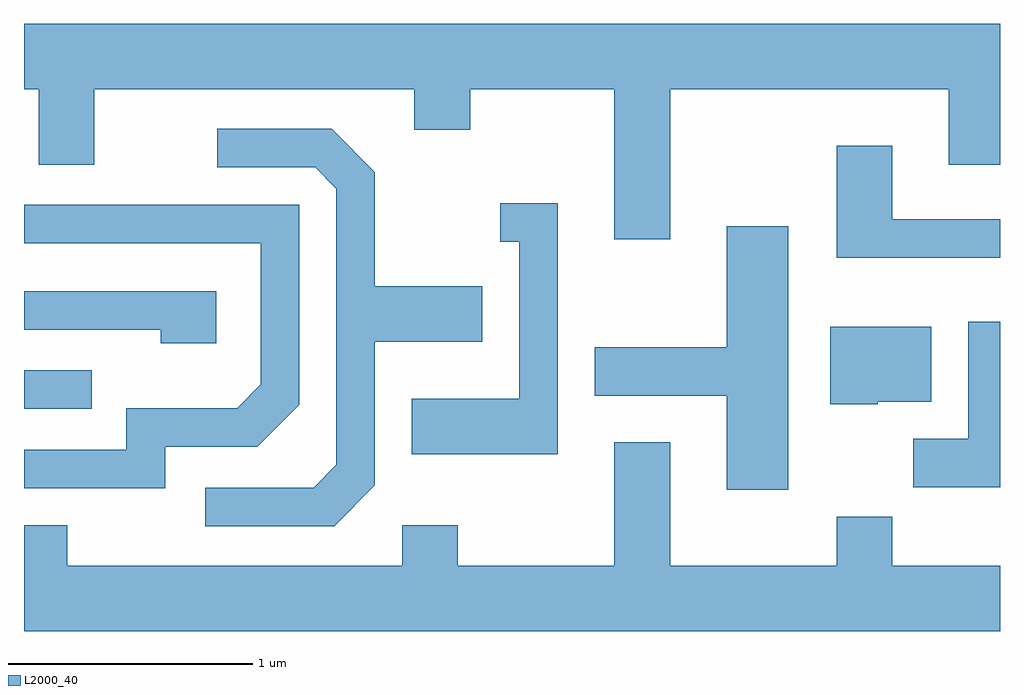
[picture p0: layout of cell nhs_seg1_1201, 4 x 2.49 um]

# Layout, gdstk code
import gdstk
lib = gdstk.Library(unit=1e-6, precision=1e-09)
def R(c, l, rs):  # rectangles x0, y0, x1, y1
    for r in rs: c.add(gdstk.rectangle(r[:2], r[2:], *l))
def P(c, l, *ps):  # polygons
    for p in ps: c.add(gdstk.Polygon(p, *l))
L2000_40 = (2000, 40)

nhs_seg1_1201 = lib.new_cell('nhs_seg1_1201')
R(nhs_seg1_1201, L2000_40, [(221.611,944.886,221.888,945.044)])
P(nhs_seg1_1201, L2000_40, [(224.259,946.196),(225.401,946.196),(225.401,945.886),(225.611,945.886),(225.611,946.464),(221.611,946.464),(221.611,946.196),(221.671,946.196),(221.671,945.886),(221.899,945.886),(221.899,946.196),(223.211,946.196),(223.211,946.031),(223.439,946.031),(223.439,946.196),(224.031,946.196),(224.031,945.581),(224.259,945.581)],
  [(223.049,944.574),(223.049,945.161),(223.489,945.161),(223.489,945.389),(223.049,945.389),(223.049,945.857),(222.872,946.034),(222.403,946.034),(222.403,945.876),(222.804,945.876),(222.891,945.789),(222.891,944.657),(222.799,944.564),(222.353,944.564),(222.353,944.406),(222.882,944.406)],
  [(225.611,945.664),(225.169,945.664),(225.169,945.964),(224.941,945.964),(224.941,945.506),(225.611,945.506)],
  [(223.799,945.729),(223.563,945.729),(223.563,945.571),(223.641,945.571),(223.641,944.929),(223.201,944.929),(223.201,944.701),(223.799,944.701)],
  [(222.189,944.731),(222.567,944.731),(222.739,944.904),(222.739,945.724),(221.611,945.724),(221.611,945.566),(222.581,945.566),(222.581,944.987),(222.484,944.889),(222.031,944.889),(222.031,944.719),(221.611,944.719),(221.611,944.561),(222.189,944.561)],
  [(224.744,945.634),(224.491,945.634),(224.491,945.139),(223.951,945.139),(223.951,944.941),(224.491,944.941),(224.491,944.556),(224.744,944.556)],
  [(222.399,945.369),(221.611,945.369),(221.611,945.211),(222.171,945.211),(222.171,945.156),(222.399,945.156)],
  [(225.611,945.244),(225.481,945.244),(225.481,944.764),(225.256,944.764),(225.256,944.566),(225.611,944.566)],
  [(225.11,944.916),(225.329,944.916),(225.329,945.224),(224.916,945.224),(224.916,944.906),(225.11,944.906)],
  [(225.611,944.244),(225.169,944.244),(225.169,944.444),(224.941,944.444),(224.941,944.244),(224.259,944.244),(224.259,944.749),(224.031,944.749),(224.031,944.244),(223.389,944.244),(223.389,944.409),(223.161,944.409),(223.161,944.244),(221.789,944.244),(221.789,944.409),(221.611,944.409),(221.611,943.976),(225.611,943.976)])

lib.write_gds('nhs_seg1_1201.gds')
